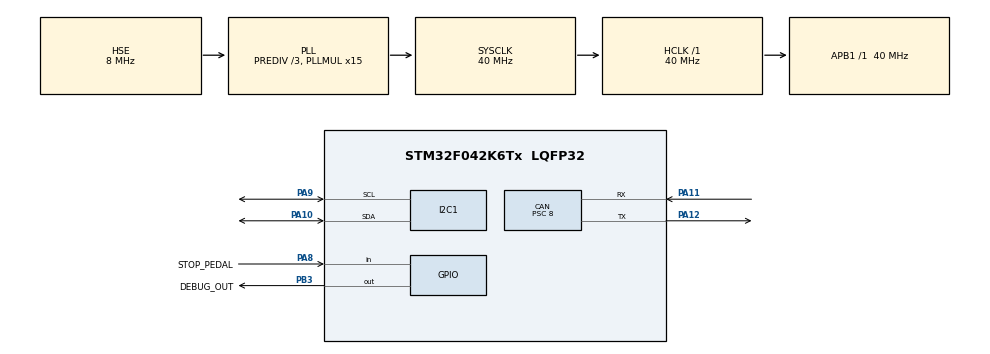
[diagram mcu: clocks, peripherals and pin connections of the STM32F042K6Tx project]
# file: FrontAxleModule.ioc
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CAN.BS1=CAN_BS1_14TQ
CAN.BS2=CAN_BS2_5TQ
CAN.CalculateTimeBit=4000
CAN.CalculateTimeQuantum=200.0
CAN.Mode=CAN_MODE_NORMAL
CAN.Prescaler=8
CAN.SJW=CAN_SJW_3TQ
I2C1.Timing=0x00909BEB
Mcu.Family=STM32F0
Mcu.Name=STM32F042K6Tx
Mcu.Package=LQFP32
NVIC.CEC_CAN_IRQn=true\:0\:0\:false\:false\:true
PA10.Mode=I2C
PA10.Signal=I2C1_SDA
PA11.GPIO_PuPd=GPIO_PULLDOWN
PA11.Mode=Master
PA11.Signal=CAN_RX
PA12.GPIO_PuPd=GPIO_PULLDOWN
PA12.Mode=Master
PA12.Signal=CAN_TX
PA8.GPIO_Label=STOP_PEDAL
PA8.Signal=GPIO_Input
PA9.Mode=I2C
PA9.Signal=I2C1_SCL
PB3.GPIO_Label=DEBUG_OUT
PB3.GPIO_Speed=GPIO_SPEED_FREQ_HIGH
PB3.Signal=GPIO_Output
PF0-OSC_IN.Mode=HSE-External-Oscillator
PF0-OSC_IN.Signal=RCC_OSC_IN
PF1-OSC_OUT.Mode=HSE-External-Oscillator
PF1-OSC_OUT.Signal=RCC_OSC_OUT
ProjectManager.HeapSize=0x200
ProjectManager.StackSize=0x400
ProjectManager.TargetToolchain=TrueSTUDIO
RCC.AHBFreq_Value=40000000
RCC.APB1Freq_Value=40000000
RCC.APB1TimFreq_Value=40000000
RCC.EnbaleCSS=true
RCC.HCLKFreq_Value=40000000
RCC.I2c1ClockSelection=RCC_I2C1CLKSOURCE_SYSCLK
RCC.PLLDivider=RCC_PREDIV_DIV3
RCC.PLLMUL=RCC_PLL_MUL15
RCC.PLLSourceVirtual=RCC_PLLSOURCE_HSE
RCC.SYSCLKFreq_VALUE=40000000
RCC.SYSCLKSource=RCC_SYSCLKSOURCE_PLLCLK
board=FrontAxleModule

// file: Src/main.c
/**
  ******************************************************************************
  * File Name          : main.c
  * Description        : Main program body
  ******************************************************************************
  ** This notice applies to any and all portions of this file
  * that are not between comment pairs USER CODE BEGIN and
  * USER CODE END. Other portions of this file, whether
  * inserted by the user or by software development tools
  * are owned by their respective copyright owners.
  *
  * COPYRIGHT(c) 2017 STMicroelectronics
  *
  * Redistribution and use in source and binary forms, with or without modification,
  * are permitted provided that the following conditions are met:
  *   1. Redistributions of source code must retain the above copyright notice,
  *      this list of conditions and the following disclaimer.
  *   2. Redistributions in binary form must reproduce the above copyright notice,
  *      this list of conditions and the following disclaimer in the documentation
  *      and/or other materials provided with the distribution.
  *   3. Neither the name of STMicroelectronics nor the names of its contributors
  *      may be used to endorse or promote products derived from this software
  *      without specific prior written permission.
  *
  * THIS SOFTWARE IS PROVIDED BY THE COPYRIGHT HOLDERS AND CONTRIBUTORS "AS IS"
  * AND ANY EXPRESS OR IMPLIED WARRANTIES, INCLUDING, BUT NOT LIMITED TO, THE
  * IMPLIED WARRANTIES OF MERCHANTABILITY AND FITNESS FOR A PARTICULAR PURPOSE ARE
  * DISCLAIMED. IN NO EVENT SHALL THE COPYRIGHT HOLDER OR CONTRIBUTORS BE LIABLE
  * FOR ANY DIRECT, INDIRECT, INCIDENTAL, SPECIAL, EXEMPLARY, OR CONSEQUENTIAL
  * DAMAGES (INCLUDING, BUT NOT LIMITED TO, PROCUREMENT OF SUBSTITUTE GOODS OR
  * SERVICES; LOSS OF USE, DATA, OR PROFITS; OR BUSINESS INTERRUPTION) HOWEVER
  * CAUSED AND ON ANY THEORY OF LIABILITY, WHETHER IN CONTRACT, STRICT LIABILITY,
  * OR TORT (INCLUDING NEGLIGENCE OR OTHERWISE) ARISING IN ANY WAY OUT OF THE USE
  * OF THIS SOFTWARE, EVEN IF ADVISED OF THE POSSIBILITY OF SUCH DAMAGE.
  *
  ******************************************************************************
  */
#include "main.h"
#include "stm32f0xx_hal.h"
#include "can.h"
#include "i2c.h"
#include "gpio.h"

/* USER CODE BEGIN Includes */
#include "tm_stm32_mpu6050.h"
#include "stop_pedal.h"
#include "can_txrx.h"

#include <stdbool.h>
#include <stdint.h>
/* USER CODE END Includes */

/* USER CODE BEGIN PV */
/* Private variables ---------------------------------------------------------*/
CAN_FRAME_DEF(fam_acc_stop	, 10, 0x100, 7);

CAN_TX_DATA_DEF(stop_light	, fam_acc_stop, 6, 1, 1		, 0, 1, &StopPedal_can_data_calc	, &StopPedal_can_data_extract	);
/* USER CODE END PV */

void SystemClock_Config(void);

/* USER CODE BEGIN PFP */
/* Private function prototypes -----------------------------------------------*/

/* USER CODE END PFP */

int main(void)
{

  /* USER CODE BEGIN 1 */
    uint8_ta = sizeof(bool);
  /* USER CODE END 1 */

  /* MCU Configuration----------------------------------------------------------*/

  /* Reset of all peripherals, Initializes the Flash interface and the Systick. */
  HAL_Init();

  /* Configure the system clock */
  SystemClock_Config();

  /* USER CODE BEGIN SysInit */
  HAL_Delay(500);
  /* USER CODE END SysInit */

  /* Initialize all configured peripherals */
  MX_GPIO_Init();
  MX_CAN_Init();
  MX_I2C1_Init();

  /* Infinite loop */
  /* USER CODE BEGIN WHILE */
  bool stopPedal = 0;

  CAN_FRAME_INIT(fam_acc_stop);

  CAN_TX_DATA_INIT(stop_light);

  CAN_TASK_MANAGER_INIT();

  while (1)
  {
  /* USER CODE END WHILE */

  /* USER CODE BEGIN 3 */

	// Read stop pedal
	stopPedal = StopPedal_Read();
	CAN_SET_DATA(stop_light, &stopPedal);

	// Handle all the receive and send of CAN data
	CAN_TASK_MANAGER();

  }
  /* USER CODE END 3 */

}

/** System Clock Configuration
*/
void SystemClock_Config(void)
{

  RCC_OscInitTypeDef RCC_OscInitStruct;
  RCC_ClkInitTypeDef RCC_ClkInitStruct;
  RCC_PeriphCLKInitTypeDef PeriphClkInit;

    /**Initializes the CPU, AHB and APB busses clocks
    */
  RCC_OscInitStruct.OscillatorType = RCC_OSCILLATORTYPE_HSE;
  RCC_OscInitStruct.HSEState = RCC_HSE_ON;
  RCC_OscInitStruct.HSIState = RCC_HSI_ON;
  RCC_OscInitStruct.PLL.PLLState = RCC_PLL_ON;
  RCC_OscInitStruct.PLL.PLLSource = RCC_PLLSOURCE_HSE;
  RCC_OscInitStruct.PLL.PLLMUL = RCC_PLL_MUL15;
  RCC_OscInitStruct.PLL.PREDIV = RCC_PREDIV_DIV3;
  if (HAL_RCC_OscConfig(&RCC_OscInitStruct) != HAL_OK)
  {
    _Error_Handler(__FILE__, __LINE__);
  }

    /**Initializes the CPU, AHB and APB busses clocks
    */
  RCC_ClkInitStruct.ClockType = RCC_CLOCKTYPE_HCLK|RCC_CLOCKTYPE_SYSCLK
                              |RCC_CLOCKTYPE_PCLK1;
  RCC_ClkInitStruct.SYSCLKSource = RCC_SYSCLKSOURCE_PLLCLK;
  RCC_ClkInitStruct.AHBCLKDivider = RCC_SYSCLK_DIV1;
  RCC_ClkInitStruct.APB1CLKDivider = RCC_HCLK_DIV1;

  if (HAL_RCC_ClockConfig(&RCC_ClkInitStruct, FLASH_LATENCY_1) != HAL_OK)
  {
    _Error_Handler(__FILE__, __LINE__);
  }

  PeriphClkInit.PeriphClockSelection = RCC_PERIPHCLK_I2C1;
  PeriphClkInit.I2c1ClockSelection = RCC_I2C1CLKSOURCE_SYSCLK;
  if (HAL_RCCEx_PeriphCLKConfig(&PeriphClkInit) != HAL_OK)
  {
    _Error_Handler(__FILE__, __LINE__);
  }

    /**Enables the Clock Security System
    */
  HAL_RCC_EnableCSS();

    /**Configure the Systick interrupt time
    */
  HAL_SYSTICK_Config(HAL_RCC_GetHCLKFreq()/1000);

    /**Configure the Systick
    */
  HAL_SYSTICK_CLKSourceConfig(SYSTICK_CLKSOURCE_HCLK);

  /* SysTick_IRQn interrupt configuration */
  HAL_NVIC_SetPriority(SysTick_IRQn, 0, 0);
}

void _Error_Handler(char * file, int line)
{
  while(1)
  {
  }
}

/************************ (C) COPYRIGHT STMicroelectronics *****END OF FILE****/
